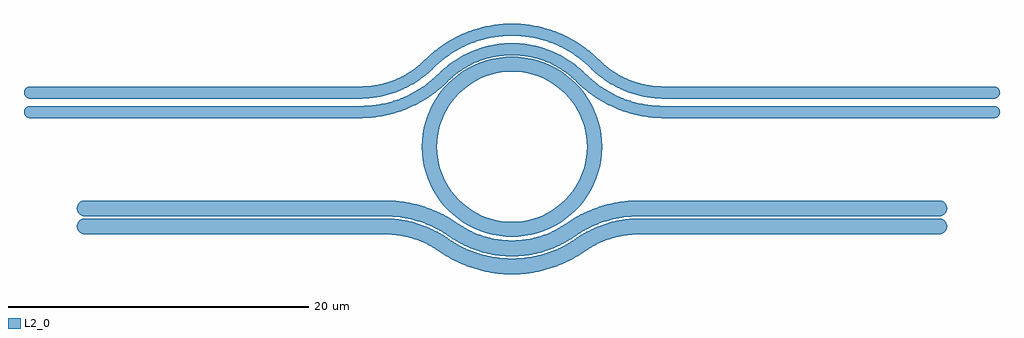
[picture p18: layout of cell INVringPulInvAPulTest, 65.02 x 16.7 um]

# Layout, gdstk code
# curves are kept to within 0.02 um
import gdstk
lib = gdstk.Library(unit=1e-6, precision=1e-09)
def P(c, l, *ps):  # polygons
    for p in ps: c.add(gdstk.Polygon(p, *l))
L2_0 = (2, 0)

invringpulinvapultest = lib.new_cell('INVringPulInvAPulTest')
P(invringpulinvapultest, L2_0, [(5,-16),(4.146,-15.939),(3.725,-15.863),(2.903,-15.622),(2.508,-15.458),(1.756,-15.048),(1.404,-14.803),(0.757,-14.243),(0.197,-13.596),(-0.048,-13.244),(-0.458,-12.492),(-0.622,-12.097),(-0.863,-11.275),(-0.939,-10.854),(-1,-10),(-0.939,-9.146),(-0.863,-8.725),(-0.622,-7.903),(-0.458,-7.508),(-0.048,-6.756),(0.197,-6.404),(0.757,-5.757),(1.404,-5.197),(1.756,-4.952),(2.508,-4.542),(2.903,-4.378),(3.725,-4.137),(4.146,-4.061),(5,-4),(5.854,-4.061),(6.275,-4.137),(7.097,-4.378),(7.492,-4.542),(8.244,-4.952),(8.596,-5.197),(9.243,-5.757),(9.803,-6.404),(10.048,-6.756),(10.458,-7.508),(10.622,-7.903),(10.863,-8.725),(10.939,-9.146),(11,-10),(10,-10),(9.949,-9.288),(9.886,-8.937),(9.685,-8.253),(9.388,-7.604),(9.003,-7.004),(8.536,-6.464),(7.996,-5.997),(7.396,-5.612),(6.747,-5.315),(6.063,-5.114),(5.357,-5.013),(4.643,-5.013),(3.937,-5.114),(3.253,-5.315),(2.604,-5.612),(2.004,-5.997),(1.464,-6.464),(0.997,-7.004),(0.794,-7.297),(0.452,-7.923),(0.203,-8.591),(0.051,-9.288),(0,-10),(0.051,-10.712),(0.114,-11.063),(0.315,-11.747),(0.452,-12.077),(0.794,-12.703),(1.221,-13.274),(1.464,-13.536),(2.004,-14.003),(2.604,-14.388),(3.253,-14.685),(3.937,-14.886),(4.288,-14.949),(5,-15),(5.712,-14.949),(6.063,-14.886),(6.747,-14.685),(7.077,-14.548),(7.703,-14.206),(7.996,-14.003),(8.536,-13.536),(9.003,-12.996),(9.388,-12.396),(9.685,-11.747),(9.886,-11.063),(9.949,-10.712),(10,-10),(11,-10),(10.939,-10.854),(10.863,-11.275),(10.622,-12.097),(10.458,-12.492),(10.048,-13.244),(9.803,-13.596),(9.243,-14.243),(8.596,-14.803),(8.244,-15.048),(7.492,-15.458),(7.097,-15.622),(6.275,-15.863),(5.854,-15.939)],
  [(-27.112,-8.088),(-27.112,-7.288),(-5.112,-7.288),(-4.584,-7.27),(-3.928,-7.193),(-3.282,-7.059),(-2.65,-6.867),(-2.038,-6.62),(-1.45,-6.319),(-0.891,-5.967),(-0.468,-5.65),(0.481,-4.785),(0.964,-4.403),(1.479,-4.066),(2.134,-3.724),(2.821,-3.453),(3.533,-3.258),(4.262,-3.14),(5,-3.1),(5,-3.9),(4.348,-3.935),(3.703,-4.039),(3.074,-4.212),(2.466,-4.451),(1.981,-4.699),(1.432,-5.052),(1.005,-5.39),(0.368,-5.989),(-0.081,-6.364),(-0.556,-6.706),(-1.054,-7.014),(-1.705,-7.347),(-2.384,-7.621),(-3.084,-7.834),(-3.8,-7.983),(-4.381,-8.056),(-5.112,-8.088)],
  [(15.112,-8.088),(14.235,-8.041),(13.226,-7.869),(12.246,-7.571),(11.441,-7.221),(10.802,-6.865),(10.316,-6.539),(9.742,-6.086),(8.828,-5.25),(8.298,-4.868),(7.827,-4.595),(7.132,-4.285),(6.509,-4.089),(5.76,-3.948),(5,-3.9),(5,-3.1),(5.738,-3.14),(6.467,-3.258),(7.062,-3.415),(7.754,-3.673),(8.414,-4.004),(9.036,-4.403),(9.519,-4.785),(10.572,-5.732),(11.111,-6.114),(11.565,-6.383),(12.158,-6.673),(12.775,-6.91),(13.41,-7.09),(14.189,-7.231),(15.112,-7.288),(37.112,-7.288),(37.112,-8.088)],
  [(-27.112,-6.788),(-27.112,-5.988),(-5.112,-5.988),(-4.136,-5.91),(-3.603,-5.799),(-3.082,-5.641),(-2.578,-5.437),(-2.093,-5.189),(-1.369,-4.706),(-0.37,-3.803),(0.323,-3.264),(0.942,-2.874),(1.727,-2.481),(2.41,-2.22),(3.257,-1.987),(4.123,-1.847),(5,-1.8),(5,-2.6),(4.209,-2.642),(3.427,-2.769),(2.663,-2.979),(1.926,-3.269),(1.224,-3.636),(0.672,-3.998),(0.154,-4.407),(-0.782,-5.261),(-1.278,-5.626),(-1.697,-5.884),(-2.245,-6.165),(-2.816,-6.395),(-3.405,-6.574),(-4.008,-6.7),(-4.619,-6.771),(-5.112,-6.788)],
  [(15.112,-6.788),(14.252,-6.735),(13.525,-6.603),(12.7,-6.353),(12.023,-6.059),(11.485,-5.759),(10.977,-5.412),(10.501,-5.022),(9.846,-4.407),(9.22,-3.921),(8.546,-3.505),(7.832,-3.163),(7.211,-2.938),(6.444,-2.742),(5.66,-2.629),(5,-2.6),(5,-1.8),(5.877,-1.847),(6.743,-1.987),(7.59,-2.22),(8.273,-2.481),(9.058,-2.874),(9.677,-3.264),(10.37,-3.803),(11.369,-4.706),(12.093,-5.189),(12.578,-5.437),(13.185,-5.676),(13.709,-5.825),(14.351,-5.941),(15.112,-5.988),(37.112,-5.988),(37.112,-6.788)],
  [(37.112,-8.088),(37.112,-7.288),(37.267,-7.32),(37.394,-7.406),(37.48,-7.533),(37.512,-7.688),(37.48,-7.844),(37.394,-7.971),(37.267,-8.057)],
  [(-27.112,-8.088),(-27.267,-8.057),(-27.394,-7.971),(-27.48,-7.844),(-27.512,-7.688),(-27.48,-7.533),(-27.394,-7.406),(-27.267,-7.32),(-27.112,-7.288)],
  [(37.112,-6.788),(37.112,-5.988),(37.267,-6.02),(37.394,-6.106),(37.48,-6.233),(37.512,-6.388),(37.48,-6.544),(37.394,-6.671),(37.267,-6.757)],
  [(-27.112,-6.788),(-27.267,-6.757),(-27.394,-6.671),(-27.48,-6.544),(-27.512,-6.388),(-27.48,-6.233),(-27.394,-6.106),(-27.267,-6.02),(-27.112,-5.988)],
  [(5,-18.5),(4.293,-18.471),(3.59,-18.382),(2.898,-18.236),(2.22,-18.033),(1.669,-17.82),(1.03,-17.516),(0.519,-17.223),(-0.314,-16.682),(-1.011,-16.332),(-1.831,-16.049),(-2.768,-15.871),(-3.46,-15.832),(-23.46,-15.832),(-23.665,-15.791),(-23.831,-15.679),(-23.962,-15.464),(-23.983,-15.254),(-23.922,-15.057),(-23.794,-14.902),(-23.616,-14.806),(-23.46,-14.782),(-3.46,-14.782),(-2.651,-14.827),(-1.655,-15.009),(-1.073,-15.184),(-0.6,-15.366),(0.215,-15.775),(1.521,-16.588),(1.986,-16.813),(2.563,-17.04),(3.158,-17.219),(3.765,-17.347),(4.38,-17.424),(5,-17.45)],
  [(5,-18.5),(5,-17.45),(5.62,-17.424),(6.235,-17.347),(6.842,-17.219),(7.437,-17.04),(8.014,-16.813),(8.479,-16.588),(9.785,-15.775),(10.6,-15.366),(11.073,-15.184),(11.655,-15.009),(12.651,-14.827),(13.46,-14.782),(33.46,-14.782),(33.616,-14.806),(33.794,-14.902),(33.922,-15.057),(33.983,-15.254),(33.962,-15.464),(33.831,-15.679),(33.665,-15.791),(33.46,-15.832),(13.46,-15.832),(12.768,-15.871),(11.831,-16.049),(11.011,-16.332),(10.314,-16.682),(9.481,-17.223),(8.97,-17.516),(8.331,-17.82),(7.78,-18.033),(7.102,-18.236),(6.41,-18.382),(5.707,-18.471)],
  [(5,-17.3),(4.393,-17.275),(3.789,-17.199),(3.293,-17.098),(2.612,-16.899),(2.047,-16.676),(1.591,-16.455),(0.29,-15.645),(-0.541,-15.228),(-1.518,-14.89),(-2.021,-14.773),(-2.635,-14.678),(-3.46,-14.632),(-23.46,-14.632),(-23.665,-14.591),(-23.831,-14.479),(-23.962,-14.264),(-23.983,-14.054),(-23.922,-13.857),(-23.794,-13.702),(-23.616,-13.606),(-23.46,-13.582),(-3.46,-13.582),(-2.518,-13.635),(-1.934,-13.721),(-1.358,-13.847),(-0.792,-14.012),(-0.13,-14.262),(0.717,-14.679),(2.081,-15.527),(2.956,-15.906),(3.454,-16.056),(3.964,-16.163),(4.394,-16.221),(5,-16.25)],
  [(5,-17.3),(5,-16.25),(5.606,-16.221),(6.036,-16.163),(6.546,-16.056),(7.044,-15.906),(7.919,-15.527),(9.283,-14.679),(10.13,-14.262),(10.792,-14.012),(11.358,-13.847),(11.934,-13.721),(12.518,-13.635),(13.46,-13.582),(33.46,-13.582),(33.616,-13.606),(33.794,-13.702),(33.922,-13.857),(33.983,-14.054),(33.962,-14.264),(33.831,-14.479),(33.665,-14.591),(33.46,-14.632),(13.46,-14.632),(12.635,-14.678),(12.021,-14.773),(11.518,-14.89),(10.541,-15.228),(9.71,-15.645),(8.409,-16.455),(7.953,-16.676),(7.388,-16.899),(6.707,-17.098),(6.211,-17.199),(5.607,-17.275)])

lib.write_gds('INVringPulInvAPulTest.gds')
